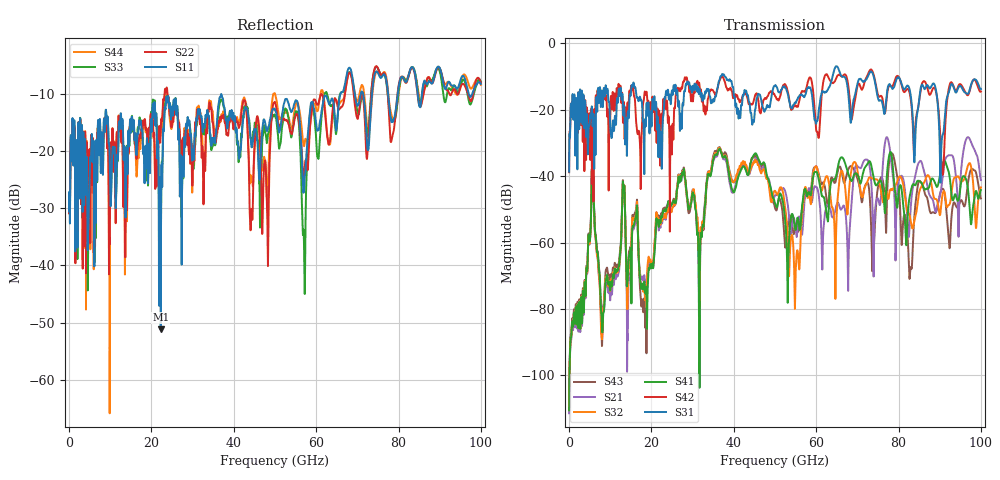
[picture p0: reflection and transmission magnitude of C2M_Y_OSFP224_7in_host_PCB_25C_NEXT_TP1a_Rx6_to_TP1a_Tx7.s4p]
# GHz S RI R 45
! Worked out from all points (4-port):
!   4000 points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, 25 MHz to 100 GHz, reference 45 ohm
!   strongest paths, dB at 25 MHz, 25.02 GHz, 50.02 GHz, 75.03 GHz, 100 GHz:
!     S31: -38.7, -14.3, -12.7, -16.6, -13.8
!     S42: -38.8, -30.3, -16.0, -15.6, -14.6
!     S41: -110.5, -48.3, -48.3, -42.1, -44.2
!     S32: -110.5, -49.9, -44.5, -41.4, -43.4
!     S21: -111.4, -49.7, -45.8, -46.9, -41.2
!     S43: -109.5, -48.1, -49.6, -43.2, -46.7
!   lowest |S11| = -51.2 dB at 22.27 GHz (marker M1), VSWR 1.01, Z = 45.1 - j0.224 ohm
!   |S11| at or under -10 dB: start of sweep to 65.95 GHz; 71.41 GHz to 73.58 GHz (2.17 GHz wide, 2.99 % of centre); 77.46 GHz to 79.83 GHz (2.368 GHz wide, 3.01 % of centre) (the widest 3 of 6)
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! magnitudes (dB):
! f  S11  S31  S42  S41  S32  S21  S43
! 25 MHz  -30.6  -38.7  -38.8  -110.5  -110.5  -111.4  -109.5
! 5.725 GHz  -21.8  -25.0  -20.3  -37.2  -37.5  -37.4  -37.2
! 8.15 GHz  -20.9  -17.9  -16.7  -85.9  -84.3  -82.1  -85.1
! 13.22 GHz  -21.1  -21.8  -18.6  -43.5  -43.6  -43.8  -43.3
! 18.38 GHz  -24.9  -25.4  -14.6  -72.7  -75.0  -70.9  -79.1
! 22.27 GHz  -51.2  -26.7  -26.3  -53.2  -53.8  -54.6  -52.3
! 100 GHz  -8.3  -13.8  -14.6  -44.2  -43.4  -41.2  -46.7
